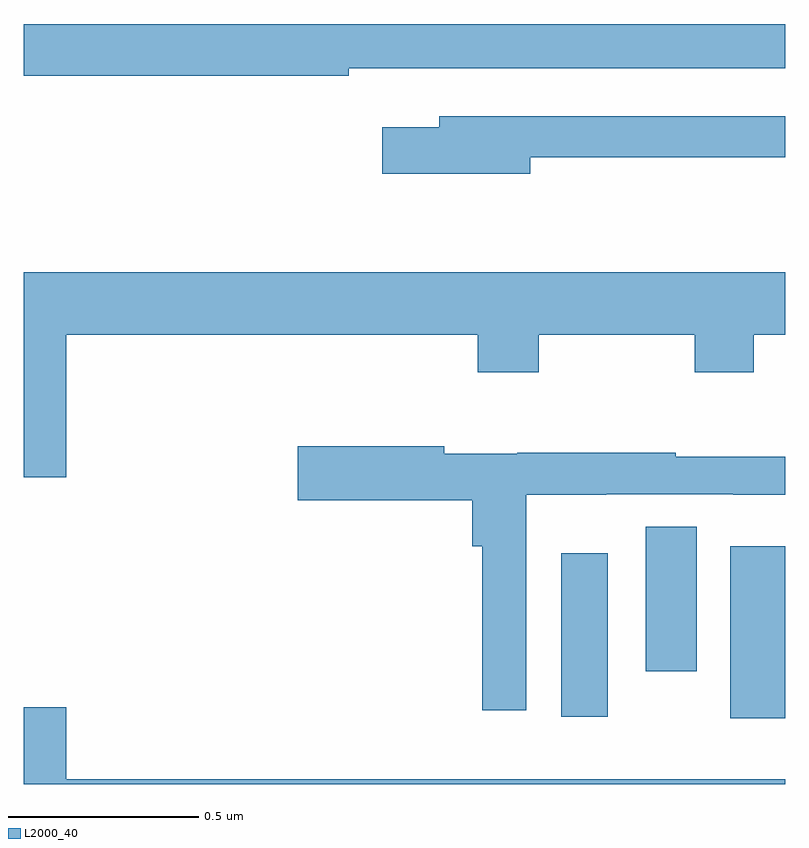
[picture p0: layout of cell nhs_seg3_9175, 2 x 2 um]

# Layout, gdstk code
import gdstk
lib = gdstk.Library(unit=1e-6, precision=1e-09)
def R(c, l, rs):  # rectangles x0, y0, x1, y1
    for r in rs: c.add(gdstk.rectangle(r[:2], r[2:], *l))
def P(c, l, *ps):  # polygons
    for p in ps: c.add(gdstk.Polygon(p, *l))
L2000_40 = (2000, 40)

nhs_seg3_9175 = lib.new_cell('nhs_seg3_9175')
R(nhs_seg3_9175, L2000_40, [(226.856,702.573,227,703.024), (226.412,702.576,226.534,703.006), (226.634,702.696,226.768,703.076)])
P(nhs_seg3_9175, L2000_40, [(225.854,704.28),(227,704.28),(227,704.396),(225,704.396),(225,704.26),(225.854,704.26)],
  [(226.33,704.046),(227,704.046),(227,704.154),(226.091,704.154),(226.091,704.125),(225.942,704.125),(225.942,704.003),(226.33,704.003)],
  [(225.112,703.58),(226.193,703.58),(226.193,703.481),(226.353,703.481),(226.353,703.58),(226.762,703.58),(226.762,703.481),(226.917,703.481),(226.917,703.58),(227,703.58),(227,703.744),(225,703.744),(225,703.206),(225.112,703.206)],
  [(226.32,703.16),(226.53,703.16),(226.53,703.161),(226.864,703.161),(226.864,703.16),(227,703.16),(227,703.26),(226.712,703.26),(226.712,703.27),(226.296,703.27),(226.296,703.267),(226.104,703.267),(226.104,703.287),(225.72,703.287),(225.72,703.145),(226.178,703.145),(226.178,703.025),(226.204,703.025),(226.204,702.594),(226.32,702.594)],
  [(227,702.412),(225.112,702.412),(225.112,702.601),(225,702.601),(225,702.4),(227,702.4)])

lib.write_gds('nhs_seg3_9175.gds')
